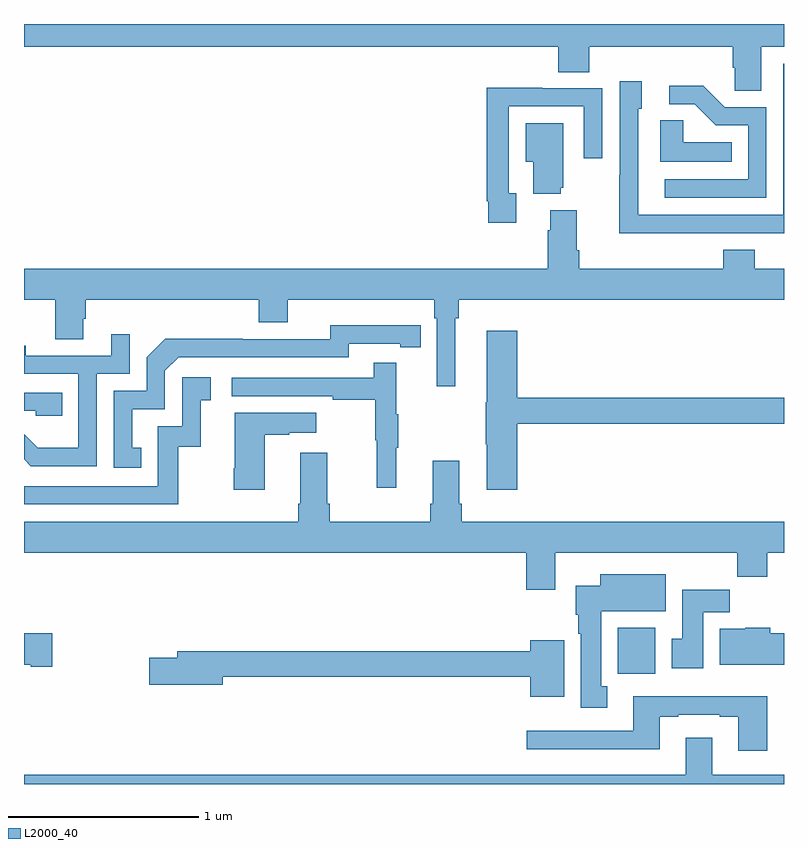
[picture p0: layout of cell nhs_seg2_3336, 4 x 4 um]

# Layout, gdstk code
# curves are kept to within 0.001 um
import gdstk
lib = gdstk.Library(unit=1e-6, precision=1e-09)
def R(c, l, rs):  # rectangles x0, y0, x1, y1
    for r in rs: c.add(gdstk.rectangle(r[:2], r[2:], *l))
def P(c, l, *ps):  # polygons
    for p in ps: c.add(gdstk.Polygon(p, *l))
L2000_40 = (2000, 40)

nhs_seg2_3336 = lib.new_cell('nhs_seg2_3336')
R(nhs_seg2_3336, L2000_40, [(290.126,600.38,290.323,600.622)])
P(nhs_seg2_3336, L2000_40, [(290.881,603.68),(291,603.68),(291,603.8),(287,603.8),(287,603.68),(289.811,603.68),(289.811,603.547),(289.976,603.547),(289.976,603.68),(290.729,603.68),(290.729,603.571),(290.742,603.571),(290.742,603.448),(290.881,603.448)],
  [(290.597,602.7),(291,602.7),(291,603.591),(290.997,603.591),(290.997,602.796),(290.232,602.796),(290.232,603.354),(290.251,603.354),(290.251,603.499),(290.136,603.499),(290.136,603.005),(290.134,603.005),(290.134,602.699),(290.597,602.699)],
  [(290.907,603.363),(290.688,603.363),(290.575,603.476),(290.397,603.476),(290.397,603.378),(290.531,603.378),(290.642,603.267),(290.811,603.267),(290.811,602.982),(290.373,602.982),(290.373,602.886),(290.907,602.886)],
  [(289.591,602.91),(289.551,602.91),(289.551,603.366),(289.947,603.366),(289.947,603.093),(290.043,603.093),(290.043,603.462),(289.727,603.462),(289.727,603.464),(289.435,603.464),(289.435,602.866),(289.443,602.866),(289.443,602.754),(289.591,602.754)],
  [(290.726,603.178),(290.469,603.178),(290.469,603.293),(290.348,603.293),(290.348,603.074),(290.726,603.074)],
  [(289.826,602.937),(289.837,602.937),(289.837,603.277),(289.64,603.277),(289.64,603.074),(289.679,603.074),(289.679,602.906),(289.826,602.906)],
  [(289.27,602.252),(289.289,602.252),(289.289,602.348),(291,602.348),(291,602.512),(290.846,602.512),(290.846,602.611),(290.681,602.611),(290.681,602.512),(289.922,602.512),(289.922,602.608),(289.909,602.608),(289.909,602.821),(289.769,602.821),(289.769,602.714),(289.757,602.714),(289.757,602.512),(287,602.512),(287,602.348),(287.164,602.348),(287.164,602.14),(287.311,602.14),(287.311,602.25),(287.324,602.25),(287.324,602.348),(288.236,602.348),(288.236,602.231),(288.388,602.231),(288.388,602.348),(289.16,602.348),(289.16,602.252),(289.173,602.252),(289.173,601.893),(289.27,601.893)],
  [(287.618,601.569),(287.569,601.569),(287.569,601.773),(287.742,601.773),(287.742,601.974),(287.814,602.046),(288.708,602.046),(288.708,602.118),(288.98,602.118),(288.98,602.098),(289.088,602.098),(289.088,602.214),(288.612,602.215),(288.612,602.142),(288.152,602.142),(288.152,602.144),(287.744,602.144),(287.646,602.046),(287.646,601.869),(287.472,601.869),(287.472,601.464),(287.618,601.464)],
  [(289.595,601.696),(291,601.696),(291,601.832),(289.595,601.832),(289.595,602.185),(289.436,602.185),(289.436,601.809),(289.429,601.809),(289.429,601.588),(289.436,601.588),(289.436,601.35),(289.595,601.35)],
  [(287.382,601.959),(287.556,601.959),(287.556,602.167),(287.459,602.167),(287.459,602.055),(287.008,602.055),(287.008,602.107),(287,602.107),(287,601.959),(287.286,601.959),(287.286,601.57),(287.072,601.57),(287,601.642),(287,601.509),(287.036,601.473),(287.382,601.473)],
  [(288.959,601.571),(288.97,601.571),(288.97,601.745),(288.959,601.745),(288.959,602.017),(288.841,602.017),(288.841,601.938),(288.093,601.938),(288.093,601.842),(288.625,601.842),(288.625,601.822),(288.849,601.822),(288.849,601.608),(288.856,601.608),(288.856,601.359),(288.959,601.359)],
  [(287.812,601.575),(287.93,601.575),(287.93,601.821),(287.983,601.821),(287.983,601.942),(287.832,601.942),(287.832,601.683),(287.703,601.683),(287.703,601.368),(287,601.368),(287,601.272),(287.812,601.272)],
  [(287.201,601.86),(287,601.86),(287,601.764),(287.061,601.764),(287.061,601.737),(287.201,601.737)],
  [(288.268,601.639),(288.395,601.639),(288.395,601.649),(288.538,601.649),(288.538,601.753),(288.11,601.753),(288.11,601.462),(288.103,601.462),(288.103,601.35),(288.268,601.35)],
  [(289.795,601.016),(290.755,601.016),(290.755,600.892),(290.912,600.892),(290.912,601.016),(291,601.016),(291,601.18),(289.304,601.18),(289.304,601.276),(289.291,601.276),(289.291,601.501),(289.151,601.501),(289.151,601.276),(289.139,601.276),(289.139,601.18),(288.608,601.18),(288.608,601.276),(288.595,601.276),(288.595,601.543),(288.455,601.543),(288.455,601.276),(288.443,601.276),(288.443,601.18),(287,601.18),(287,601.016),(289.643,601.016),(289.643,600.822),(289.795,600.822)],
  [(290.071,600.314),(290.038,600.314),(290.038,600.71),(290.377,600.71),(290.377,600.904),(290.033,600.904),(290.033,600.844),(289.904,600.844),(289.904,600.69),(289.916,600.69),(289.916,600.59),(289.931,600.59),(289.931,600.201),(290.071,600.201)],
  [(290.575,600.704),(290.714,600.704),(290.714,600.822),(290.465,600.822),(290.465,600.564),(290.408,600.564),(290.408,600.408),(290.575,600.408)],
  [(291,600.594),(290.927,600.594),(290.927,600.622),(290.796,600.622),(290.796,600.616),(290.663,600.616),(290.663,600.428),(291,600.428)],
  [(287.149,600.594),(287,600.594),(287,600.428),(287.036,600.428),(287.036,600.416),(287.149,600.416)],
  [(289.843,600.556),(289.664,600.556),(289.664,600.5),(287.807,600.5),(287.807,600.464),(287.658,600.464),(287.658,600.322),(288.046,600.322),(288.046,600.364),(289.664,600.364),(289.664,600.26),(289.843,600.26)],
  [(290.912,600.262),(290.207,600.262),(290.207,600.081),(289.647,600.081),(289.647,599.984),(290.347,599.984),(290.347,600.153),(290.443,600.153),(290.443,600.165),(290.663,600.165),(290.663,600.153),(290.759,600.153),(290.759,599.976),(290.912,599.976)],
  [(291,599.848),(290.623,599.848),(290.623,600.043),(290.483,600.043),(290.483,599.848),(287,599.848),(287,599.8),(291,599.8)])

lib.write_gds('nhs_seg2_3336.gds')
